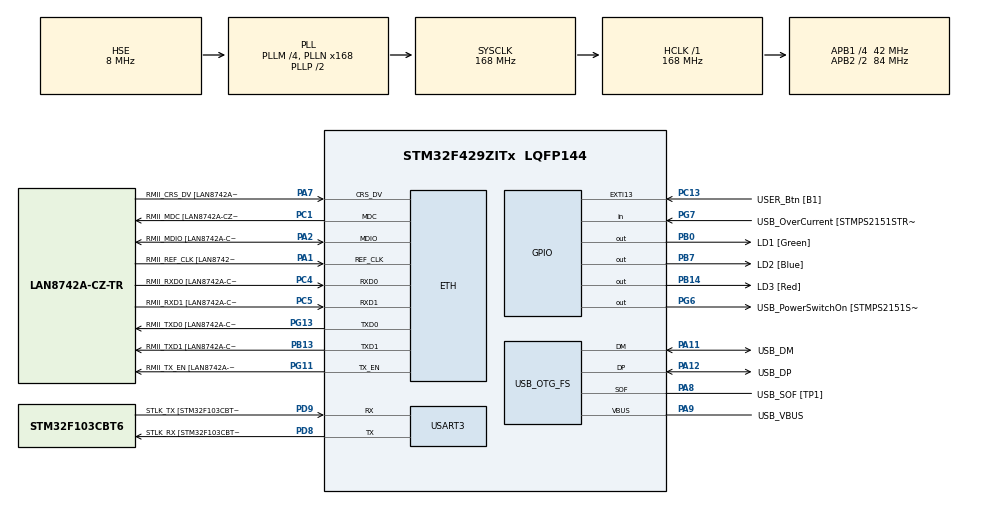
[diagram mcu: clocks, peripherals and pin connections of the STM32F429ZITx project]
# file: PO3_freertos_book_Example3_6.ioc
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ETH.MediaInterface=HAL_ETH_RMII_MODE
ETH.PHY_Name=LAN8742A_PHY_ADDRESS
ETH.PHY_Value=0
ETH.PhyAddress=0
FREERTOS.HEAP_NUMBER=4
FREERTOS.MEMORY_ALLOCATION=0
FREERTOS.Tasks01=Task1,0,128,vTaskFunction_,Default,NULL,Dynamic,NULL,NULL;Task2,0,128,vTaskFunction_,Default,NULL,Dynamic,NULL,NULL;Task3,0,128,vTaskFunction_,Default,NULL,Dynamic,NULL,NULL
FREERTOS.configUSE_NEWLIB_REENTRANT=1
Mcu.Family=STM32F4
Mcu.Name=STM32F429ZITx
Mcu.Package=LQFP144
NVIC.PriorityGroup=NVIC_PRIORITYGROUP_4
NVIC.TIM7_IRQn=true\:15\:0\:false\:false\:true\:false\:false\:true\:true
NVIC.TimeBase=TIM7_IRQn
NVIC.TimeBaseIP=TIM7
PA1.GPIO_Label=RMII_REF_CLK [LAN8742A-CZ-TR_REFCLK0]
PA1.Mode=RMII
PA1.Signal=ETH_REF_CLK
PA10.GPIO_Label=USB_ID
PA10.Signal=USB_OTG_FS_ID
PA11.GPIO_Label=USB_DM
PA11.Mode=Device_Only
PA11.Signal=USB_OTG_FS_DM
PA12.GPIO_Label=USB_DP
PA12.Mode=Device_Only
PA12.Signal=USB_OTG_FS_DP
PA13.GPIO_Label=TMS
PA13.Mode=Serial_Wire
PA13.Signal=SYS_JTMS-SWDIO
PA14.GPIO_Label=TCK
PA14.Mode=Serial_Wire
PA14.Signal=SYS_JTCK-SWCLK
PA2.GPIO_Label=RMII_MDIO [LAN8742A-CZ-TR_MDIO]
PA2.Mode=RMII
PA2.Signal=ETH_MDIO
PA7.GPIO_Label=RMII_CRS_DV [LAN8742A-CZ-TR_CRS_DV]
PA7.Mode=RMII
PA7.Signal=ETH_CRS_DV
PA8.GPIO_Label=USB_SOF [TP1]
PA8.Mode=Activate_SOF_FS
PA8.Signal=USB_OTG_FS_SOF
PA9.GPIO_Label=USB_VBUS
PA9.Mode=Activate_VBUS
PA9.Signal=USB_OTG_FS_VBUS
PB0.GPIO_Label=LD1 [Green]
PB0.Signal=GPIO_Output
PB13.GPIO_Label=RMII_TXD1 [LAN8742A-CZ-TR_TXD1]
PB13.Mode=RMII
PB13.Signal=ETH_TXD1
PB14.GPIO_Label=LD3 [Red]
PB14.Signal=GPIO_Output
PB7.GPIO_Label=LD2 [Blue]
PB7.Signal=GPIO_Output
PC1.GPIO_Label=RMII_MDC [LAN8742A-CZ-TR_MDC]
PC1.Mode=RMII
PC1.Signal=ETH_MDC
PC13.GPIO_Label=USER_Btn [B1]
PC13.Signal=GPXTI13
PC14/OSC32_IN.Mode=LSE-External-Oscillator
PC14/OSC32_IN.Signal=RCC_OSC32_IN
PC15/OSC32_OUT.Mode=LSE-External-Oscillator
PC15/OSC32_OUT.Signal=RCC_OSC32_OUT
PC4.GPIO_Label=RMII_RXD0 [LAN8742A-CZ-TR_RXD0]
PC4.Mode=RMII
PC4.Signal=ETH_RXD0
PC5.GPIO_Label=RMII_RXD1 [LAN8742A-CZ-TR_RXD1]
PC5.Mode=RMII
PC5.Signal=ETH_RXD1
PD8.GPIO_Label=STLK_RX [STM32F103CBT6_PA3]
PD8.Mode=Asynchronous
PD8.Signal=USART3_TX
PD9.GPIO_Label=STLK_TX [STM32F103CBT6_PA2]
PD9.Mode=Asynchronous
PD9.Signal=USART3_RX
PG11.GPIO_Label=RMII_TX_EN [LAN8742A-CZ-TR_TXEN]
PG11.Mode=RMII
PG11.Signal=ETH_TX_EN
PG13.GPIO_Label=RMII_TXD0 [LAN8742A-CZ-TR_TXD0]
PG13.Mode=RMII
PG13.Signal=ETH_TXD0
PG6.GPIO_Label=USB_PowerSwitchOn [STMPS2151STR_EN]
PG6.Signal=GPIO_Output
PG7.GPIO_Label=USB_OverCurrent [STMPS2151STR_FAULT]
PG7.Signal=GPIO_Input
PH0/OSC_IN.GPIO_Label=MCO [STM32F103CBT6_PA8]
PH0/OSC_IN.Mode=HSE-External-Clock-Source
PH0/OSC_IN.Signal=RCC_OSC_IN
PH1/OSC_OUT.Mode=HSE-External-Clock-Source
PH1/OSC_OUT.Signal=RCC_OSC_OUT
ProjectManager.HeapSize=0x200
ProjectManager.StackSize=0x400
ProjectManager.TargetToolchain=STM32CubeIDE
RCC.48MHZClocksFreq_Value=48000000
RCC.AHBFreq_Value=168000000
RCC.APB1CLKDivider=RCC_HCLK_DIV4
RCC.APB1Freq_Value=42000000
RCC.APB1TimFreq_Value=84000000
RCC.APB2CLKDivider=RCC_HCLK_DIV2
RCC.APB2Freq_Value=84000000
RCC.APB2TimCLKDivider=2
RCC.APB2TimFreq_Value=168000000
RCC.CortexFreq_Value=168000000
RCC.HCLKFreq_Value=168000000
RCC.HSE_VALUE=8000000
RCC.HSI_VALUE=16000000
RCC.PLLM=4
RCC.PLLMUL=RCC_PLL_MUL9
RCC.PLLN=168
RCC.PLLQ=7
RCC.PRESCALERUSB=RCC_USBCLKSOURCE_PLL_DIV1_5
RCC.SYSCLKFreq_VALUE=168000000
RCC.SYSCLKSource=RCC_SYSCLKSOURCE_PLLCLK
RCC.SYSCLKSourceVirtual=RCC_SYSCLKSOURCE_PLLCLK
RCC.USBFreq_Value=48000000
RCC.VCOOutputFreq_Value=336000000
USART3.VirtualMode=VM_ASYNC
USB_OTG_FS.VirtualMode=Device_Only
VP_FREERTOS_VS_CMSIS_V1.Mode=CMSIS_V1
VP_SYS_VS_tim7.Mode=TIM7
board=NUCLEO-F429ZI

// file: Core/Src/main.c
/* USER CODE BEGIN Header */
/**
  ******************************************************************************
  * @file           : main.c
  * @brief          : Main program body
  ******************************************************************************
  * @attention
  *
  * Copyright (c) 2022 STMicroelectronics.
  * All rights reserved.
  *
  * This software is licensed under terms that can be found in the LICENSE file
  * in the root directory of this software component.
  * If no LICENSE file comes with this software, it is provided AS-IS.
  *
  ******************************************************************************
  */
/* USER CODE END Header */
#include "main.h"
#include "string.h"
#include "cmsis_os.h"

/* USER CODE BEGIN Includes */
/* Standard includes. */
#include <stdio.h>
#include <stdlib.h>

/* Demo includes. */
#include "supportingFunctions.h"

/* Application includes. */
#include "taskFunction.h"

/* USER CODE END Includes */

ETH_TxPacketConfig TxConfig;
ETH_DMADescTypeDef  DMARxDscrTab[ETH_RX_DESC_CNT]; /* Ethernet Rx DMA Descriptors */
ETH_DMADescTypeDef  DMATxDscrTab[ETH_TX_DESC_CNT]; /* Ethernet Tx DMA Descriptors */

 ETH_HandleTypeDef heth;

UART_HandleTypeDef huart3;

PCD_HandleTypeDef hpcd_USB_OTG_FS;

osThreadId Task1Handle;
osThreadId Task2Handle;
osThreadId Task3Handle;
/* USER CODE BEGIN PV */
#if( TASKS_SCOPE == TASKS_OUTSIDE_MAIN)
extern LDX_Config_t LDX_Config[];
extern void vTaskFunction(void const * argument);
#endif

/* USER CODE END PV */

void SystemClock_Config(void);
static void MX_GPIO_Init(void);
static void MX_ETH_Init(void);
static void MX_USART3_UART_Init(void);
static void MX_USB_OTG_FS_PCD_Init(void);
void vTaskFunction_(void const * argument);

int main(void)
{
  /* USER CODE BEGIN 1 */
	const char *pcTextForMain = "PO3_freertos_book_Example3_6 is running: PO (3 de 6)\r\n\n";

#if( TASKS_SCOPE == TASKS_OUTSIDE_MAIN)
	LDX_Config_t* ptr;
#endif

  /* USER CODE END 1 */

  /* MCU Configuration--------------------------------------------------------*/

  /* Reset of all peripherals, Initializes the Flash interface and the Systick. */
  HAL_Init();

  /* Configure the system clock */
  SystemClock_Config();

  /* Initialize all configured peripherals */
  MX_GPIO_Init();
  MX_ETH_Init();
  MX_USART3_UART_Init();
  MX_USB_OTG_FS_PCD_Init();
  /* USER CODE BEGIN 2 */
	/* Print out the name of this Example. */
	vPrintString( pcTextForMain );

#if( TASKS_SCOPE == TASKS_OUTSIDE_MAIN)
	  /* Create the thread(s) */
	  /* definition and creation of Task1 */
	  ptr = &LDX_Config[0];
	  osThreadDef(Task1, vTaskFunction, osPriorityNormal, 0, 128);
	  Task1Handle = osThreadCreate(osThread(Task1), (void*) ptr);

	  /* definition and creation of Task2 */
	  ptr = &LDX_Config[1];
	  osThreadDef(Task2, vTaskFunction, osPriorityNormal, 0, 128);
	  Task2Handle = osThreadCreate(osThread(Task2), (void*) ptr);

	  /* definition and creation of Task3 */
	  ptr = &LDX_Config[2];
	  osThreadDef(Task3, vTaskFunction, osPriorityNormal, 0, 128);
	  Task3Handle = osThreadCreate(osThread(Task3), (void*) ptr);

#endif

  /* USER CODE END 2 */

  /* USER CODE BEGIN RTOS_QUEUES */
  /* add queues, ... */
#if( TASKS_SCOPE == TASKS_INSIDE_MAIN)
  /* USER CODE END RTOS_QUEUES */

  /* Create the thread(s) */
  /* definition and creation of Task1 */
  osThreadDef(Task1, vTaskFunction_, osPriorityNormal, 0, 128);
  Task1Handle = osThreadCreate(osThread(Task1), NULL);

  /* definition and creation of Task2 */
  osThreadDef(Task2, vTaskFunction_, osPriorityNormal, 0, 128);
  Task2Handle = osThreadCreate(osThread(Task2), NULL);

  /* definition and creation of Task3 */
  osThreadDef(Task3, vTaskFunction_, osPriorityNormal, 0, 128);
  Task3Handle = osThreadCreate(osThread(Task3), NULL);

  /* USER CODE BEGIN RTOS_THREADS */
  /* add threads, ... */
#endif
  /* USER CODE END RTOS_THREADS */

  /* Start scheduler */
  osKernelStart();

  /* We should never get here as control is now taken by the scheduler */
  /* Infinite loop */
  while (1)
  {

  }
}

void SystemClock_Config(void)
{
  RCC_OscInitTypeDef RCC_OscInitStruct = {0};
  RCC_ClkInitTypeDef RCC_ClkInitStruct = {0};

  /** Configure the main internal regulator output voltage
  */
  __HAL_RCC_PWR_CLK_ENABLE();
  __HAL_PWR_VOLTAGESCALING_CONFIG(PWR_REGULATOR_VOLTAGE_SCALE1);

  /** Initializes the RCC Oscillators according to the specified parameters
  * in the RCC_OscInitTypeDef structure.
  */
  RCC_OscInitStruct.OscillatorType = RCC_OSCILLATORTYPE_HSE;
  RCC_OscInitStruct.HSEState = RCC_HSE_BYPASS;
  RCC_OscInitStruct.PLL.PLLState = RCC_PLL_ON;
  RCC_OscInitStruct.PLL.PLLSource = RCC_PLLSOURCE_HSE;
  RCC_OscInitStruct.PLL.PLLM = 4;
  RCC_OscInitStruct.PLL.PLLN = 168;
  RCC_OscInitStruct.PLL.PLLP = RCC_PLLP_DIV2;
  RCC_OscInitStruct.PLL.PLLQ = 7;
  if (HAL_RCC_OscConfig(&RCC_OscInitStruct) != HAL_OK)
  {
    Error_Handler();
  }

  /** Initializes the CPU, AHB and APB buses clocks
  */
  RCC_ClkInitStruct.ClockType = RCC_CLOCKTYPE_HCLK|RCC_CLOCKTYPE_SYSCLK
                              |RCC_CLOCKTYPE_PCLK1|RCC_CLOCKTYPE_PCLK2;
  RCC_ClkInitStruct.SYSCLKSource = RCC_SYSCLKSOURCE_PLLCLK;
  RCC_ClkInitStruct.AHBCLKDivider = RCC_SYSCLK_DIV1;
  RCC_ClkInitStruct.APB1CLKDivider = RCC_HCLK_DIV4;
  RCC_ClkInitStruct.APB2CLKDivider = RCC_HCLK_DIV2;

  if (HAL_RCC_ClockConfig(&RCC_ClkInitStruct, FLASH_LATENCY_5) != HAL_OK)
  {
    Error_Handler();
  }
}

static void MX_ETH_Init(void)
{

   static uint8_t MACAddr[6];

  heth.Instance = ETH;
  MACAddr[0] = 0x00;
  MACAddr[1] = 0x80;
  MACAddr[2] = 0xE1;
  MACAddr[3] = 0x00;
  MACAddr[4] = 0x00;
  MACAddr[5] = 0x00;
  heth.Init.MACAddr = &MACAddr[0];
  heth.Init.MediaInterface = HAL_ETH_RMII_MODE;
  heth.Init.TxDesc = DMATxDscrTab;
  heth.Init.RxDesc = DMARxDscrTab;
  heth.Init.RxBuffLen = 1524;

  if (HAL_ETH_Init(&heth) != HAL_OK)
  {
    Error_Handler();
  }

  memset(&TxConfig, 0 , sizeof(ETH_TxPacketConfig));
  TxConfig.Attributes = ETH_TX_PACKETS_FEATURES_CSUM | ETH_TX_PACKETS_FEATURES_CRCPAD;
  TxConfig.ChecksumCtrl = ETH_CHECKSUM_IPHDR_PAYLOAD_INSERT_PHDR_CALC;
  TxConfig.CRCPadCtrl = ETH_CRC_PAD_INSERT;

}

static void MX_USART3_UART_Init(void)
{

  huart3.Instance = USART3;
  huart3.Init.BaudRate = 115200;
  huart3.Init.WordLength = UART_WORDLENGTH_8B;
  huart3.Init.StopBits = UART_STOPBITS_1;
  huart3.Init.Parity = UART_PARITY_NONE;
  huart3.Init.Mode = UART_MODE_TX_RX;
  huart3.Init.HwFlowCtl = UART_HWCONTROL_NONE;
  huart3.Init.OverSampling = UART_OVERSAMPLING_16;
  if (HAL_UART_Init(&huart3) != HAL_OK)
  {
    Error_Handler();
  }

}

static void MX_USB_OTG_FS_PCD_Init(void)
{

  hpcd_USB_OTG_FS.Instance = USB_OTG_FS;
  hpcd_USB_OTG_FS.Init.dev_endpoints = 4;
  hpcd_USB_OTG_FS.Init.speed = PCD_SPEED_FULL;
  hpcd_USB_OTG_FS.Init.dma_enable = DISABLE;
  hpcd_USB_OTG_FS.Init.phy_itface = PCD_PHY_EMBEDDED;
  hpcd_USB_OTG_FS.Init.Sof_enable = ENABLE;
  hpcd_USB_OTG_FS.Init.low_power_enable = DISABLE;
  hpcd_USB_OTG_FS.Init.lpm_enable = DISABLE;
  hpcd_USB_OTG_FS.Init.vbus_sensing_enable = ENABLE;
  hpcd_USB_OTG_FS.Init.use_dedicated_ep1 = DISABLE;
  if (HAL_PCD_Init(&hpcd_USB_OTG_FS) != HAL_OK)
  {
    Error_Handler();
  }

}

static void MX_GPIO_Init(void)
{
  GPIO_InitTypeDef GPIO_InitStruct = {0};

  /* GPIO Ports Clock Enable */
  __HAL_RCC_GPIOC_CLK_ENABLE();
  __HAL_RCC_GPIOH_CLK_ENABLE();
  __HAL_RCC_GPIOA_CLK_ENABLE();
  __HAL_RCC_GPIOB_CLK_ENABLE();
  __HAL_RCC_GPIOD_CLK_ENABLE();
  __HAL_RCC_GPIOG_CLK_ENABLE();

  /*Configure GPIO pin Output Level */
  HAL_GPIO_WritePin(GPIOB, LD1_Pin|LD3_Pin|LD2_Pin, GPIO_PIN_RESET);

  /*Configure GPIO pin Output Level */
  HAL_GPIO_WritePin(USB_PowerSwitchOn_GPIO_Port, USB_PowerSwitchOn_Pin, GPIO_PIN_RESET);

  /*Configure GPIO pin : USER_Btn_Pin */
  GPIO_InitStruct.Pin = USER_Btn_Pin;
  GPIO_InitStruct.Mode = GPIO_MODE_IT_RISING;
  GPIO_InitStruct.Pull = GPIO_NOPULL;
  HAL_GPIO_Init(USER_Btn_GPIO_Port, &GPIO_InitStruct);

  /*Configure GPIO pins : LD1_Pin LD3_Pin LD2_Pin */
  GPIO_InitStruct.Pin = LD1_Pin|LD3_Pin|LD2_Pin;
  GPIO_InitStruct.Mode = GPIO_MODE_OUTPUT_PP;
  GPIO_InitStruct.Pull = GPIO_NOPULL;
  GPIO_InitStruct.Speed = GPIO_SPEED_FREQ_LOW;
  HAL_GPIO_Init(GPIOB, &GPIO_InitStruct);

  /*Configure GPIO pin : USB_PowerSwitchOn_Pin */
  GPIO_InitStruct.Pin = USB_PowerSwitchOn_Pin;
  GPIO_InitStruct.Mode = GPIO_MODE_OUTPUT_PP;
  GPIO_InitStruct.Pull = GPIO_NOPULL;
  GPIO_InitStruct.Speed = GPIO_SPEED_FREQ_LOW;
  HAL_GPIO_Init(USB_PowerSwitchOn_GPIO_Port, &GPIO_InitStruct);

  /*Configure GPIO pin : USB_OverCurrent_Pin */
  GPIO_InitStruct.Pin = USB_OverCurrent_Pin;
  GPIO_InitStruct.Mode = GPIO_MODE_INPUT;
  GPIO_InitStruct.Pull = GPIO_NOPULL;
  HAL_GPIO_Init(USB_OverCurrent_GPIO_Port, &GPIO_InitStruct);

}

void vTaskFunction_(void const * argument)
{
  /* USER CODE BEGIN 5 */
	char *pcTaskName;

	/* Print out the name of this task. */
	pcTaskName = ( char * ) pcTaskGetName( NULL );
	vPrintTwoStrings(pcTaskName, "- is running\r\n" );

	/* Infinite loop */
	for(;;)
	{
		osDelay(1);
	}
  /* USER CODE END 5 */
}

void HAL_TIM_PeriodElapsedCallback(TIM_HandleTypeDef *htim)
{
  if (htim->Instance == TIM7) {
    HAL_IncTick();
  }
}

void Error_Handler(void)
{
  __disable_irq();
  while (1)
  {
  }
}
